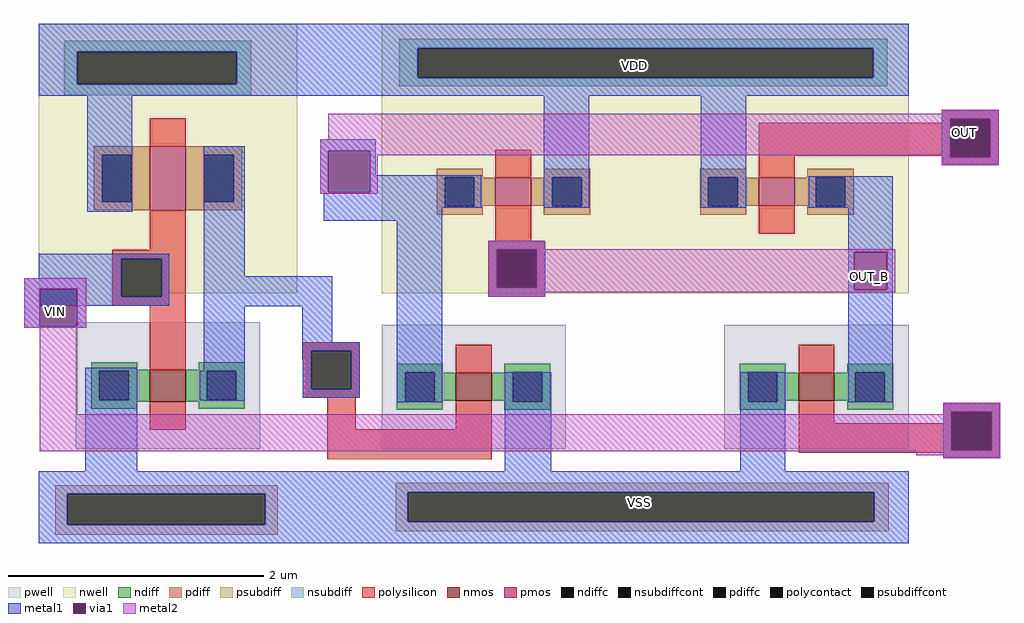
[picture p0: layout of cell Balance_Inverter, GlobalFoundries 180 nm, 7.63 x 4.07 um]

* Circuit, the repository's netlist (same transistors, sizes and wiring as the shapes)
* NGSPICE file created from Balance_Inverter.ext - technology: gf180mcuC

.subckt pmos_3p3_M8LTNG a_n120_n36# a_28_n22# a_n28_n66# w_n206_n159#
X0 a_28_n22# a_n28_n66# a_n120_n36# w_n206_n159# pfet_03v3 ad=0.152p pd=1.64u as=0.152p ps=1.64u w=0.22u l=0.28u
.ends

.subckt nmos_3p3_H9QVWA a_n120_n36# a_28_n25# a_n28_n69# VSUBS
X0 a_28_n25# a_n28_n69# a_n120_n36# VSUBS nfet_03v3 ad=0.155p pd=1.64u as=0.155p ps=1.64u w=0.25u l=0.28u
.ends

.subckt pmos_3p3_M8RWPS a_n28_n94# w_n202_n180# a_n116_n50# a_28_n50#
X0 a_28_n50# a_n28_n94# a_n116_n50# w_n202_n180# pfet_03v3 ad=0.22p pd=1.88u as=0.22p ps=1.88u w=0.5u l=0.28u
.ends

.subckt Inverter VDD VSS IN OUT
Xnmos_3p3_H9QVWA_0 VSS OUT IN VSS nmos_3p3_H9QVWA
Xpmos_3p3_M8RWPS_0 IN VDD VDD OUT pmos_3p3_M8RWPS
.ends

.subckt nmos_3p3_DDNVWA a_n120_n36# a_28_n22# a_n28_n66# VSUBS
X0 a_28_n22# a_n28_n66# a_n120_n36# VSUBS nfet_03v3 ad=0.152p pd=1.64u as=0.152p ps=1.64u w=0.22u l=0.28u
.ends

.subckt Balance_Inverter
Xpmos_3p3_M8LTNG_0 a_1126_606# Inverter_0/VDD a_703_386# Inverter_0/VDD pmos_3p3_M8LTNG
Xpmos_3p3_M8LTNG_1 Inverter_0/VDD a_703_386# a_1126_606# Inverter_0/VDD pmos_3p3_M8LTNG
XInverter_0 Inverter_0/VDD Inverter_0/VSS Inverter_0/IN Inverter_0/OUT Inverter
Xnmos_3p3_DDNVWA_0 a_1126_606# Inverter_0/VSS Inverter_0/OUT Inverter_0/VSS nmos_3p3_DDNVWA
Xnmos_3p3_DDNVWA_1 Inverter_0/VSS a_703_386# Inverter_0/IN Inverter_0/VSS nmos_3p3_DDNVWA
.ends

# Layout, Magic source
magic
tech gf180mcuC
magscale 1 10
<< nwell >>
rect 536 700 1360 813
<< psubdiff >>
rect 558 80 1329 95
rect 558 34 577 80
rect 1306 34 1329 80
rect 558 19 1329 34
<< nsubdiff >>
rect 564 774 1327 789
rect 564 728 593 774
rect 1305 728 1327 774
rect 564 715 1327 728
<< psubdiffcont >>
rect 577 34 1306 80
<< nsubdiffcont >>
rect 593 728 1305 774
<< polysilicon >>
rect 1412 664 1501 678
rect 1412 658 1425 664
rect 1126 606 1425 658
rect 1412 604 1425 606
rect 1488 604 1501 664
rect 1412 591 1501 604
rect 714 473 770 484
rect 703 460 792 473
rect 703 400 716 460
rect 779 400 792 460
rect 703 386 792 400
rect 413 301 502 315
rect 413 241 426 301
rect 489 241 502 301
rect 413 228 502 241
rect 451 179 496 228
rect 1414 206 1503 220
rect 1414 188 1427 206
rect 451 132 708 179
rect 1188 146 1427 188
rect 1490 146 1503 206
rect 1188 142 1503 146
rect 1414 133 1503 142
<< polycontact >>
rect 1425 604 1488 664
rect 716 400 779 460
rect 426 241 489 301
rect 1427 146 1490 206
<< metal1 >>
rect 404 774 1360 813
rect 404 728 593 774
rect 1305 728 1360 774
rect 404 700 1360 728
rect 440 614 527 632
rect 440 549 453 614
rect 518 576 527 614
rect 518 549 692 576
rect 440 547 692 549
rect 446 525 692 547
rect 790 525 861 700
rect 1035 525 1106 700
rect 1412 664 1501 678
rect 1412 604 1425 664
rect 1488 604 1501 664
rect 1412 591 1501 604
rect 1204 525 1335 574
rect 446 505 631 525
rect -23 398 74 415
rect -23 340 2 398
rect 60 340 74 398
rect 357 371 459 418
rect -23 337 74 340
rect 412 315 459 371
rect 412 301 502 315
rect 412 287 426 301
rect 413 241 426 287
rect 489 241 502 301
rect 413 228 502 241
rect 560 221 631 505
rect 703 460 792 473
rect 703 400 716 460
rect 779 400 792 460
rect 703 386 792 400
rect 1266 456 1335 525
rect 1266 397 1275 456
rect 1327 397 1335 456
rect 729 113 801 268
rect 1097 113 1167 268
rect 1266 221 1335 397
rect 1414 206 1503 220
rect 1414 146 1427 206
rect 1490 146 1503 206
rect 1414 133 1503 146
rect 404 80 1360 113
rect 404 34 577 80
rect 1306 34 1360 80
rect 404 0 1360 34
<< via1 >>
rect 453 549 518 614
rect 1425 604 1488 664
rect 2 340 60 398
rect 716 400 779 460
rect 1275 397 1327 456
rect 1427 146 1490 206
<< metal2 >>
rect 1412 672 1501 678
rect 453 664 1501 672
rect 453 632 1425 664
rect 440 614 1425 632
rect 440 549 453 614
rect 518 607 1425 614
rect 518 549 530 607
rect 1412 604 1425 607
rect 1488 604 1501 664
rect 1412 591 1501 604
rect 440 547 530 549
rect 703 460 792 473
rect -23 398 74 415
rect -23 340 2 398
rect 60 340 74 398
rect 703 400 716 460
rect 779 456 1339 460
rect 779 400 1275 456
rect 703 397 1275 400
rect 1327 397 1339 456
rect 703 393 1339 397
rect 703 386 792 393
rect -23 337 74 340
rect 2 202 60 337
rect 1414 206 1503 220
rect 1414 202 1427 206
rect 2 146 1427 202
rect 1490 146 1503 206
rect 2 144 1503 146
rect 1372 138 1503 144
rect 1414 133 1503 138
use Inverter  Inverter_0
transform 1 0 118 0 1 214
box -118 -214 286 599
use nmos_3p3_DDNVWA  nmos_3p3_DDNVWA_0
transform 1 0 680 0 1 245
box -144 -97 144 97
use nmos_3p3_DDNVWA  nmos_3p3_DDNVWA_1
transform 1 0 1216 0 1 245
box -144 -97 144 97
use pmos_3p3_M8LTNG  pmos_3p3_M8LTNG_0
transform 1 0 742 0 1 550
box -206 -159 206 159
use pmos_3p3_M8LTNG  pmos_3p3_M8LTNG_1
transform 1 0 1154 0 1 550
box -206 -159 206 159
<< labels >>
flabel nsubdiffcont 932 747 932 747 0 FreeSans 640 0 0 0 VDD
port 0 nsew
flabel psubdiffcont 940 64 940 64 0 FreeSans 640 0 0 0 VSS
port 1 nsew
flabel via1 1447 643 1447 643 0 FreeSans 640 0 0 0 OUT
port 2 nsew
flabel via1 1299 417 1299 417 0 FreeSans 640 0 0 0 OUT_B
port 3 nsew
flabel via1 26 362 26 362 0 FreeSans 640 0 0 0 VIN
port 4 nsew
<< end >>

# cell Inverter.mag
magic
tech gf180mcuC
magscale 1 10
<< nwell >>
rect -118 486 286 599
rect -42 305 28 486
rect 1 239 86 245
rect -118 158 86 239
<< psubdiff >>
rect -92 -136 256 -123
rect -92 -185 -73 -136
rect 236 -185 256 -136
rect -92 -200 256 -185
<< nsubdiff >>
rect -78 555 214 572
rect -78 504 -58 555
rect 192 504 214 555
rect -78 487 214 504
<< psubdiffcont >>
rect -73 -185 236 -136
<< nsubdiffcont >>
rect -58 504 192 555
<< polysilicon >>
rect 56 245 112 263
rect -3 231 112 245
rect -3 172 11 231
rect 74 172 112 231
rect -3 158 112 172
rect 56 102 112 158
<< polycontact >>
rect 11 172 74 231
<< metal1 >>
rect -118 555 286 599
rect -118 504 -58 555
rect 192 504 286 555
rect -118 486 286 504
rect -42 305 28 486
rect -118 231 86 239
rect -118 172 11 231
rect 74 172 86 231
rect -118 158 86 172
rect 140 204 204 407
rect 140 157 286 204
rect -45 -101 36 61
rect 140 9 204 157
rect -118 -136 286 -101
rect -118 -185 -73 -136
rect 236 -185 286 -136
rect -118 -214 286 -185
use nmos_3p3_H9QVWA  nmos_3p3_H9QVWA_0
transform 1 0 84 0 1 33
box -144 -99 144 99
use pmos_3p3_M8RWPS  pmos_3p3_M8RWPS_0 ~/GF180Projects/GF_INV/Magic
transform 1 0 84 0 1 357
box -202 -180 202 180
<< labels >>
flabel nsubdiffcont 67 530 67 530 0 FreeSans 640 0 0 0 VDD
port 1 nsew
flabel psubdiffcont 81 -162 81 -162 0 FreeSans 640 0 0 0 VSS
port 2 nsew
flabel metal1 -95 199 -95 199 0 FreeSans 640 0 0 0 IN
port 3 nsew
flabel metal1 272 172 272 172 0 FreeSans 640 0 0 0 OUT
port 5 nsew
<< end >>

# cell nmos_3p3_DDNVWA: kit device nmos_3p3, w 0.220 l 0.280 m 1 nf 1 diffcov 100 polycov 100 guard 0 glc 0 grc 0 gtc 0 gbc 0 tbcov 100 rlcov 100 topc 0 botc 0 poverlap 0 doverlap 1 lmin 0.28 wmin 0.22 full_metal 0 compatible {nmos_3p3 nmos_6p0 nmos_6p0_nat}

# cell pmos_3p3_M8LTNG: kit device pmos_3p3, w 0.220 l 0.280 m 1 nf 1 diffcov 100 polycov 100 guard 0 glc 0 grc 0 gtc 0 gbc 0 tbcov 100 rlcov 100 topc 0 botc 0 poverlap 0 doverlap 1 lmin 0.28 wmin 0.22 full_metal 0 compatible {pmos_3p3 pmos_6p0}

# cell nmos_3p3_H9QVWA: kit device nmos_3p3, w 0.250 l 0.280 m 1 nf 1 diffcov 100 polycov 100 guard 0 glc 0 grc 0 gtc 0 gbc 0 tbcov 100 rlcov 100 topc 0 botc 0 poverlap 0 doverlap 1 lmin 0.28 wmin 0.22 full_metal 0 compatible {nmos_3p3 nmos_6p0 nmos_6p0_nat}

# cell pmos_3p3_M8RWPS: kit device pmos_3p3, w 0.50 l 0.280 m 1 nf 1 diffcov 100 polycov 100 guard 0 glc 0 grc 0 gtc 0 gbc 0 tbcov 100 rlcov 100 topc 0 botc 0 poverlap 0 doverlap 1 lmin 0.28 wmin 0.22 full_metal 0 compatible {pmos_3p3 pmos_6p0}
